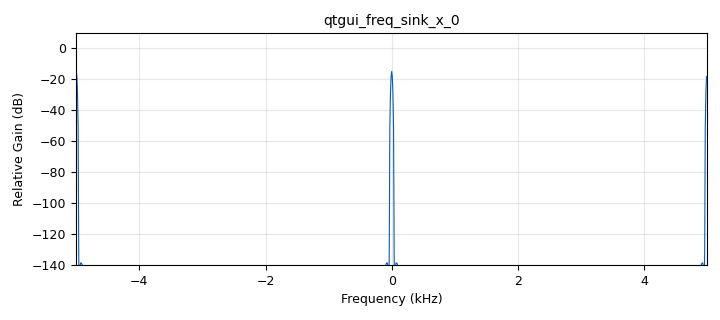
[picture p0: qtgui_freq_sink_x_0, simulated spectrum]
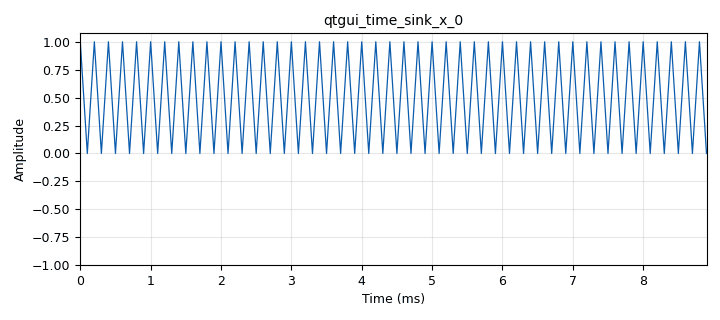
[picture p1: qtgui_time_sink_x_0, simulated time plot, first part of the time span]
options:
  parameters:
    author: zoe
    generate_options: qt_gui
    id: lab2_5
    output_language: python
    title: Not titled yet
  states: {}

blocks:
- name: samp_rate
  id: variable
  parameters:
    value: '10000'
  states: {}
- name: analog_sig_source_x_0_0_0
  id: analog_sig_source_x
  parameters:
    amp: '2'
    freq: '5000'
    offset: '0'
    phase: '0'
    samp_rate: samp_rate
    type: float
    waveform: analog.GR_SAW_WAVE
  states: {}
- name: blocks_throttle_0
  id: blocks_throttle
  parameters:
    samples_per_second: samp_rate
    type: float
  states: {}
- name: qtgui_freq_sink_x_0
  id: qtgui_freq_sink_x
  parameters:
    bw: samp_rate
    fc: '0'
    fftsize: '1024'
    type: float
  states: {}
- name: qtgui_time_sink_x_0
  id: qtgui_time_sink_x
  parameters:
    size: '1024'
    srate: samp_rate
    type: float
  states: {}

connections:
- [analog_sig_source_x_0_0_0, '0', blocks_throttle_0, '0']
- [blocks_throttle_0, '0', qtgui_freq_sink_x_0, '0']
- [blocks_throttle_0, '0', qtgui_time_sink_x_0, '0']

metadata:
  file_format: 1
  grc_version: 3.10.5.1
